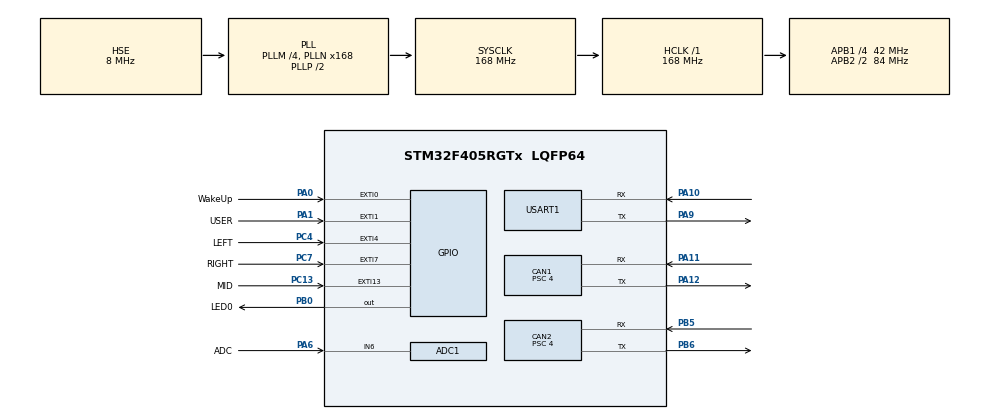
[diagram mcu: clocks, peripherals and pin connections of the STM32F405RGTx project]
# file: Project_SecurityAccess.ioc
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ADC1.Channel-0\#ChannelRegularConversion=ADC_CHANNEL_6
ADC1.NbrOfConversionFlag=1
ADC1.Rank-0\#ChannelRegularConversion=1
ADC1.Resolution=ADC_RESOLUTION_8B
ADC1.SamplingTime-0\#ChannelRegularConversion=ADC_SAMPLETIME_3CYCLES
ADC1.master=1
CAN1.ABOM=ENABLE
CAN1.AWUM=ENABLE
CAN1.BS1=CAN_BS1_16TQ
CAN1.BS2=CAN_BS2_4TQ
CAN1.CalculateBaudRate=500000
CAN1.CalculateTimeBit=2000
CAN1.CalculateTimeQuantum=95.23809523809524
CAN1.Prescaler=4
CAN2.ABOM=ENABLE
CAN2.AWUM=ENABLE
CAN2.BS1=CAN_BS1_16TQ
CAN2.BS2=CAN_BS2_4TQ
CAN2.CalculateBaudRate=500000
CAN2.CalculateTimeBit=2000
CAN2.CalculateTimeQuantum=95.23809523809524
CAN2.Prescaler=4
Mcu.Family=STM32F4
Mcu.Name=STM32F405RGTx
Mcu.Package=LQFP64
NVIC.CAN1_RX0_IRQn=true\:0\:0\:false\:false\:true\:true\:true\:true
NVIC.CAN2_RX1_IRQn=true\:0\:0\:false\:false\:true\:true\:true\:true
NVIC.EXTI0_IRQn=true\:0\:0\:false\:false\:true\:true\:true\:true
NVIC.EXTI15_10_IRQn=true\:0\:0\:false\:false\:true\:true\:true\:true
NVIC.EXTI1_IRQn=true\:0\:0\:false\:false\:true\:true\:true\:true
NVIC.EXTI4_IRQn=true\:0\:0\:false\:false\:true\:true\:true\:true
NVIC.EXTI9_5_IRQn=true\:0\:0\:false\:false\:true\:true\:true\:true
NVIC.PriorityGroup=NVIC_PRIORITYGROUP_4
NVIC.TIM3_IRQn=true\:0\:0\:false\:false\:true\:true\:true\:true
PA0-WKUP.GPIO_Label=WakeUp
PA0-WKUP.GPIO_PuPd=GPIO_PULLUP
PA0-WKUP.Signal=GPXTI0
PA1.GPIO_Label=USER
PA1.GPIO_PuPd=GPIO_PULLUP
PA1.Signal=GPXTI1
PA10.Mode=Asynchronous
PA10.Signal=USART1_RX
PA11.Mode=CAN_Activate
PA11.Signal=CAN1_RX
PA12.Mode=CAN_Activate
PA12.Signal=CAN1_TX
PA6.GPIO_Label=ADC
PA6.Signal=ADCx_IN6
PA9.Mode=Asynchronous
PA9.Signal=USART1_TX
PB0.GPIO_Label=LED0
PB0.Signal=GPIO_Output
PB5.Mode=CAN_Activate
PB5.Signal=CAN2_RX
PB6.Mode=CAN_Activate
PB6.Signal=CAN2_TX
PC13-ANTI_TAMP.GPIO_Label=MID
PC13-ANTI_TAMP.GPIO_PuPd=GPIO_PULLUP
PC13-ANTI_TAMP.Signal=GPXTI13
PC4.GPIO_Label=LEFT
PC4.GPIO_PuPd=GPIO_PULLUP
PC4.Signal=GPXTI4
PC7.GPIO_Label=RIGHT
PC7.GPIO_PuPd=GPIO_PULLUP
PC7.Signal=GPXTI7
PH0-OSC_IN.Mode=HSE-External-Oscillator
PH0-OSC_IN.Signal=RCC_OSC_IN
PH1-OSC_OUT.Mode=HSE-External-Oscillator
PH1-OSC_OUT.Signal=RCC_OSC_OUT
ProjectManager.HeapSize=0x200
ProjectManager.StackSize=0x400
ProjectManager.TargetToolchain=STM32CubeIDE
RCC.48MHZClocksFreq_Value=84000000
RCC.AHBFreq_Value=168000000
RCC.APB1CLKDivider=RCC_HCLK_DIV4
RCC.APB1Freq_Value=42000000
RCC.APB1TimFreq_Value=84000000
RCC.APB2CLKDivider=RCC_HCLK_DIV2
RCC.APB2Freq_Value=84000000
RCC.APB2TimFreq_Value=168000000
RCC.CortexFreq_Value=168000000
RCC.HCLKFreq_Value=168000000
RCC.HSE_VALUE=8000000
RCC.HSI_VALUE=16000000
RCC.LSE_VALUE=32768
RCC.PLLM=4
RCC.PLLN=168
RCC.PLLSourceVirtual=RCC_PLLSOURCE_HSE
RCC.SYSCLKFreq_VALUE=168000000
RCC.SYSCLKSource=RCC_SYSCLKSOURCE_PLLCLK
RCC.VCOOutputFreq_Value=336000000
SH.ADCx_IN6.0=ADC1_IN6,IN6
TIM3.Period=839
TIM3.Prescaler=99
USART1.VirtualMode=VM_ASYNC
VP_TIM3_VS_ClockSourceINT.Mode=Internal
board=custom

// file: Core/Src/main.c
/* USER CODE BEGIN Header */
/**
  ******************************************************************************
  * @file           : main.c
  * @brief          : Main program body
  ******************************************************************************
  * @attention
  *
  * Copyright (c) 2022 STMicroelectronics.
  * All rights reserved.
  *
  * This software is licensed under terms that can be found in the LICENSE file
  * in the root directory of this software component.
  * If no LICENSE file comes with this software, it is provided AS-IS.
  *
  ******************************************************************************
  */
/* USER CODE END Header */
#include "main.h"

/* USER CODE BEGIN Includes */
#include <stdio.h>

/* USER CODE END Includes */

/* USER CODE BEGIN PD */
#define data_length 8
#define tester_ID 	0x712
#define ECU_ID 		0x7A2
#define true 		1
#define false 		0
#define zero		0
#define over_time 	10000
#define LEFT 0xAA
#define MID 0x00
#define RIGHT 0xFF

/* USER CODE END PD */

/* USER CODE BEGIN PM */
#ifdef __GNUC__
 /* With GCC/RAISONANCE, small printf (option LD Linker->Libraries->Small printf
 set to 'Yes') calls __io_putchar() */
 #define PUTCHAR_PROTOTYPE int __io_putchar(int ch)
#else
 #define PUTCHAR_PROTOTYPE int fputc(int ch, FILE *f)
#endif /* __GNUC__ */

/* USER CODE END PM */

ADC_HandleTypeDef hadc1;

CAN_HandleTypeDef hcan1;
CAN_HandleTypeDef hcan2;

TIM_HandleTypeDef htim3;

UART_HandleTypeDef huart1;

/* USER CODE BEGIN PV */
CAN_TxHeaderTypeDef tester_TxHeader;
CAN_RxHeaderTypeDef tester_RxHeader;
uint8_t tester_TxData[data_length];
uint8_t tester_RxData[data_length];
uint32_t tester_TxMailbox;
CAN_TxHeaderTypeDef ECU_TxHeader;
CAN_RxHeaderTypeDef ECU_RxHeader;
uint8_t ECU_TxData[data_length];
uint8_t ECU_RxData[data_length];
uint32_t ECU_TxMailbox;

uint8_t ECU_store_seed[data_length];	// ECU control
uint8_t joystick;						// ECU control
uint16_t count = zero;					// ECU control
uint8_t is_ECU_unlock = false;			// ECU control
uint8_t is_run_timer = false;			// ECU control
uint8_t is_get_fifo1 = false;			// ECU control
uint8_t is_over_time = false;			// ECU control

uint8_t is_get_fifo0 = false;			// tester control
uint8_t flag_wake_up_key = false;		// tester control
uint8_t flag_user_key = false;			// tester control
uint8_t flag_left_key = false;			// tester control
uint8_t flag_right_key = false;			// tester control
uint8_t flag_mid_key = false;			// tester control

/* USER CODE END PV */

void SystemClock_Config(void);
static void MX_GPIO_Init(void);
static void MX_ADC1_Init(void);
static void MX_CAN1_Init(void);
static void MX_CAN2_Init(void);
static void MX_USART1_UART_Init(void);
static void MX_TIM3_Init(void);
/* USER CODE BEGIN PFP */
void HAL_GPIO_EXTI_Callback(uint16_t);
void HAL_CAN_RxFifo0MsgPendingCallback(CAN_HandleTypeDef *hcan);
void HAL_CAN_RxFifo1MsgPendingCallback(CAN_HandleTypeDef *hcan);	// ECU control
void HAL_TIM_PeriodElapsedCallback(TIM_HandleTypeDef *htim);		// ECU control
void securityAccessServiceSeedRequestFrame();						// tester control
void securityAccessServiceSeedResponseFrame();						// ECU control
void securityAccessSendKeyRequestFrame(uint8_t Tx_Data[], uint8_t Data[]);	// tester control
void securityAccessSendKeyResponseFrame();							// ECU control
void SecurityAccessNegativeResponseMessage(uint8_t Data[], uint8_t flag_NRC);
void ReadDataByIdentifierRequestFrame(uint8_t Data[]);						// tester control
void ReadDataByIdentifierResponseFrame(uint8_t Data[], uint8_t adc_value);	// ECU control
void WriteDataByIdentifierRequestFrame(uint8_t Data[], uint8_t joystick_position);
void WriteDataByIdentifierResponseFrame(uint8_t Data[]);			// ECU control
void Service22();								// tester control
void Service27();								// tester control
void Service2E(uint8_t joystick_position);		// tester control
void CheckAndHandleService22();					// tester control
void CheckAndHandleService27(); 				// tester control
void CheckAndHandleService2E();					// tester control
void CheckAndHandleTesterCANFIFO0();			// tester control
void CheckAndHandleECUCANFIFO1();				// ECU control
void CheckOverTime();							// ECU control
void HandleSID22();								// ECU control
void HandleSID27();								// ECU control
void HandleSID2E();								// ECU control
void HandleSID62();								// tester control
void HandleSID67();								// tester control
void HandleSID6E();								// tester control
void HandleSID7F();								// tester control
void store_joystick_value(uint8_t Data);		// ECU control
uint8_t is_accept_key(uint8_t Data[],uint8_t  store_seed[]);	// ECU control
uint8_t get_PCI(uint8_t);
uint8_t get_size(uint8_t);
uint8_t get_SID(uint8_t Data[]);
uint16_t get_DID(uint8_t Data[]);
uint8_t get_sub_function(uint8_t Data[]);
uint8_t get_NRC(uint8_t Data[]);
uint8_t generate_seed();
uint8_t cal_key(uint8_t);

/* USER CODE END PFP */

int main(void)
{

  /* MCU Configuration--------------------------------------------------------*/

  /* Reset of all peripherals, Initializes the Flash interface and the Systick. */
  HAL_Init();

  /* Configure the system clock */
  SystemClock_Config();

  /* Initialize all configured peripherals */
  MX_GPIO_Init();
  MX_ADC1_Init();
  MX_CAN1_Init();
  MX_CAN2_Init();
  MX_USART1_UART_Init();
  MX_TIM3_Init();
  /* USER CODE BEGIN 2 */
  HAL_ADC_Start(&hadc1);			// khoi dong module ADC
  HAL_TIM_Base_Start_IT(&htim3);	// khoi dong module timer
  HAL_CAN_Start(&hcan1);			// khởi động module can1
  HAL_CAN_Start(&hcan2);			// khởi động module can2
  HAL_CAN_ActivateNotification(&hcan1, CAN_IT_RX_FIFO0_MSG_PENDING);  // Activate the notification
  HAL_CAN_ActivateNotification(&hcan2, CAN_IT_RX_FIFO1_MSG_PENDING);  // Activate the notification
  /* USER CODE END 2 */

  /* Infinite loop */
  /* USER CODE BEGIN WHILE */
  while (1)
  {
	  CheckAndHandleService27();
	  CheckAndHandleService22();
	  CheckAndHandleService2E();
	  CheckAndHandleTesterCANFIFO0();
	  CheckAndHandleECUCANFIFO1();
	  CheckOverTime();
    /* USER CODE END WHILE */

  }
}

void SystemClock_Config(void)
{
  RCC_OscInitTypeDef RCC_OscInitStruct = {0};
  RCC_ClkInitTypeDef RCC_ClkInitStruct = {0};

  /** Configure the main internal regulator output voltage
  */
  __HAL_RCC_PWR_CLK_ENABLE();
  __HAL_PWR_VOLTAGESCALING_CONFIG(PWR_REGULATOR_VOLTAGE_SCALE1);

  /** Initializes the RCC Oscillators according to the specified parameters
  * in the RCC_OscInitTypeDef structure.
  */
  RCC_OscInitStruct.OscillatorType = RCC_OSCILLATORTYPE_HSE;
  RCC_OscInitStruct.HSEState = RCC_HSE_ON;
  RCC_OscInitStruct.PLL.PLLState = RCC_PLL_ON;
  RCC_OscInitStruct.PLL.PLLSource = RCC_PLLSOURCE_HSE;
  RCC_OscInitStruct.PLL.PLLM = 4;
  RCC_OscInitStruct.PLL.PLLN = 168;
  RCC_OscInitStruct.PLL.PLLP = RCC_PLLP_DIV2;
  RCC_OscInitStruct.PLL.PLLQ = 4;
  if (HAL_RCC_OscConfig(&RCC_OscInitStruct) != HAL_OK)
  {
    Error_Handler();
  }

  /** Initializes the CPU, AHB and APB buses clocks
  */
  RCC_ClkInitStruct.ClockType = RCC_CLOCKTYPE_HCLK|RCC_CLOCKTYPE_SYSCLK
                              |RCC_CLOCKTYPE_PCLK1|RCC_CLOCKTYPE_PCLK2;
  RCC_ClkInitStruct.SYSCLKSource = RCC_SYSCLKSOURCE_PLLCLK;
  RCC_ClkInitStruct.AHBCLKDivider = RCC_SYSCLK_DIV1;
  RCC_ClkInitStruct.APB1CLKDivider = RCC_HCLK_DIV4;
  RCC_ClkInitStruct.APB2CLKDivider = RCC_HCLK_DIV2;

  if (HAL_RCC_ClockConfig(&RCC_ClkInitStruct, FLASH_LATENCY_5) != HAL_OK)
  {
    Error_Handler();
  }
}

static void MX_ADC1_Init(void)
{

  ADC_ChannelConfTypeDef sConfig = {0};

  /** Configure the global features of the ADC (Clock, Resolution, Data Alignment and number of conversion)
  */
  hadc1.Instance = ADC1;
  hadc1.Init.ClockPrescaler = ADC_CLOCK_SYNC_PCLK_DIV4;
  hadc1.Init.Resolution = ADC_RESOLUTION_8B;
  hadc1.Init.ScanConvMode = DISABLE;
  hadc1.Init.ContinuousConvMode = DISABLE;
  hadc1.Init.DiscontinuousConvMode = DISABLE;
  hadc1.Init.ExternalTrigConvEdge = ADC_EXTERNALTRIGCONVEDGE_NONE;
  hadc1.Init.ExternalTrigConv = ADC_SOFTWARE_START;
  hadc1.Init.DataAlign = ADC_DATAALIGN_RIGHT;
  hadc1.Init.NbrOfConversion = 1;
  hadc1.Init.DMAContinuousRequests = DISABLE;
  hadc1.Init.EOCSelection = ADC_EOC_SINGLE_CONV;
  if (HAL_ADC_Init(&hadc1) != HAL_OK)
  {
    Error_Handler();
  }

  /** Configure for the selected ADC regular channel its corresponding rank in the sequencer and its sample time.
  */
  sConfig.Channel = ADC_CHANNEL_6;
  sConfig.Rank = 1;
  sConfig.SamplingTime = ADC_SAMPLETIME_3CYCLES;
  if (HAL_ADC_ConfigChannel(&hadc1, &sConfig) != HAL_OK)
  {
    Error_Handler();
  }

}

static void MX_CAN1_Init(void)
{

  /* USER CODE BEGIN CAN1_Init 0 */
	tester_TxHeader.DLC = data_length;  // data length
	tester_TxHeader.IDE = CAN_ID_STD;
	tester_TxHeader.RTR = CAN_RTR_DATA;
	tester_TxHeader.StdId = tester_ID;  // ID
  /* USER CODE END CAN1_Init 0 */

  /* USER CODE BEGIN CAN1_Init 1 */
	for (int i = 0; i < 8; i++){
		tester_TxData[i] = 0x55;
	}
  /* USER CODE END CAN1_Init 1 */
  hcan1.Instance = CAN1;
  hcan1.Init.Prescaler = 4;
  hcan1.Init.Mode = CAN_MODE_NORMAL;
  hcan1.Init.SyncJumpWidth = CAN_SJW_1TQ;
  hcan1.Init.TimeSeg1 = CAN_BS1_16TQ;
  hcan1.Init.TimeSeg2 = CAN_BS2_4TQ;
  hcan1.Init.TimeTriggeredMode = DISABLE;
  hcan1.Init.AutoBusOff = ENABLE;
  hcan1.Init.AutoWakeUp = ENABLE;
  hcan1.Init.AutoRetransmission = DISABLE;
  hcan1.Init.ReceiveFifoLocked = DISABLE;
  hcan1.Init.TransmitFifoPriority = DISABLE;
  if (HAL_CAN_Init(&hcan1) != HAL_OK)
  {
    Error_Handler();
  }
  /* USER CODE BEGIN CAN1_Init 2 */
  CAN_FilterTypeDef canfilterconfig;
  canfilterconfig.FilterActivation = CAN_FILTER_ENABLE;
  canfilterconfig.FilterBank = 18;  // which filter bank to use from the assigned ones
  canfilterconfig.FilterFIFOAssignment = CAN_FILTER_FIFO0;
  canfilterconfig.FilterIdHigh = ECU_ID<<5;
  canfilterconfig.FilterIdLow = 0;
  canfilterconfig.FilterMaskIdHigh = ECU_ID<<5;
  canfilterconfig.FilterMaskIdLow = 0x0000;
  canfilterconfig.FilterMode = CAN_FILTERMODE_IDMASK;
  canfilterconfig.FilterScale = CAN_FILTERSCALE_32BIT;
  canfilterconfig.SlaveStartFilterBank = 20;  // how many filters to assign to the CAN1 (master can)
  HAL_CAN_ConfigFilter(&hcan1, &canfilterconfig);

  /* USER CODE END CAN1_Init 2 */

}

static void MX_CAN2_Init(void)
{

  /* USER CODE BEGIN CAN2_Init 0 */
	ECU_TxHeader.DLC = data_length;  // data length
	ECU_TxHeader.IDE = CAN_ID_STD;
	ECU_TxHeader.RTR = CAN_RTR_DATA;
	ECU_TxHeader.StdId = ECU_ID;  // ID
  /* USER CODE END CAN2_Init 0 */

  /* USER CODE BEGIN CAN2_Init 1 */
	for (int i = 0; i < 8; i++){
		ECU_TxData[i] = 0x55;
	}
  /* USER CODE END CAN2_Init 1 */
  hcan2.Instance = CAN2;
  hcan2.Init.Prescaler = 4;
  hcan2.Init.Mode = CAN_MODE_NORMAL;
  hcan2.Init.SyncJumpWidth = CAN_SJW_1TQ;
  hcan2.Init.TimeSeg1 = CAN_BS1_16TQ;
  hcan2.Init.TimeSeg2 = CAN_BS2_4TQ;
  hcan2.Init.TimeTriggeredMode = DISABLE;
  hcan2.Init.AutoBusOff = ENABLE;
  hcan2.Init.AutoWakeUp = ENABLE;
  hcan2.Init.AutoRetransmission = DISABLE;
  hcan2.Init.ReceiveFifoLocked = DISABLE;
  hcan2.Init.TransmitFifoPriority = DISABLE;
  if (HAL_CAN_Init(&hcan2) != HAL_OK)
  {
    Error_Handler();
  }
  /* USER CODE BEGIN CAN2_Init 2 */
  CAN_FilterTypeDef canfilterconfig;
  canfilterconfig.FilterActivation = CAN_FILTER_ENABLE;
  canfilterconfig.FilterBank = 10;  // which filter bank to use from the assigned ones
  canfilterconfig.FilterFIFOAssignment = CAN_FILTER_FIFO1;
  canfilterconfig.FilterIdHigh = tester_ID<<5;
  canfilterconfig.FilterIdLow = 0;
  canfilterconfig.FilterMaskIdHigh = tester_ID<<5;
  canfilterconfig.FilterMaskIdLow = 0x0000;
  canfilterconfig.FilterMode = CAN_FILTERMODE_IDMASK;
  canfilterconfig.FilterScale = CAN_FILTERSCALE_32BIT;
  canfilterconfig.SlaveStartFilterBank = 0;  // doesn't matter in single can controllers
  HAL_CAN_ConfigFilter(&hcan2, &canfilterconfig);

  /* USER CODE END CAN2_Init 2 */

}

static void MX_TIM3_Init(void)
{

  TIM_ClockConfigTypeDef sClockSourceConfig = {0};
  TIM_MasterConfigTypeDef sMasterConfig = {0};

  htim3.Instance = TIM3;
  htim3.Init.Prescaler = 99;
  htim3.Init.CounterMode = TIM_COUNTERMODE_UP;
  htim3.Init.Period = 839;
  htim3.Init.ClockDivision = TIM_CLOCKDIVISION_DIV1;
  htim3.Init.AutoReloadPreload = TIM_AUTORELOAD_PRELOAD_DISABLE;
  if (HAL_TIM_Base_Init(&htim3) != HAL_OK)
  {
    Error_Handler();
  }
  sClockSourceConfig.ClockSource = TIM_CLOCKSOURCE_INTERNAL;
  if (HAL_TIM_ConfigClockSource(&htim3, &sClockSourceConfig) != HAL_OK)
  {
    Error_Handler();
  }
  sMasterConfig.MasterOutputTrigger = TIM_TRGO_RESET;
  sMasterConfig.MasterSlaveMode = TIM_MASTERSLAVEMODE_DISABLE;
  if (HAL_TIMEx_MasterConfigSynchronization(&htim3, &sMasterConfig) != HAL_OK)
  {
    Error_Handler();
  }

}

static void MX_USART1_UART_Init(void)
{

  huart1.Instance = USART1;
  huart1.Init.BaudRate = 115200;
  huart1.Init.WordLength = UART_WORDLENGTH_8B;
  huart1.Init.StopBits = UART_STOPBITS_1;
  huart1.Init.Parity = UART_PARITY_NONE;
  huart1.Init.Mode = UART_MODE_TX_RX;
  huart1.Init.HwFlowCtl = UART_HWCONTROL_NONE;
  huart1.Init.OverSampling = UART_OVERSAMPLING_16;
  if (HAL_UART_Init(&huart1) != HAL_OK)
  {
    Error_Handler();
  }

}

static void MX_GPIO_Init(void)
{
  GPIO_InitTypeDef GPIO_InitStruct = {0};

  /* GPIO Ports Clock Enable */
  __HAL_RCC_GPIOC_CLK_ENABLE();
  __HAL_RCC_GPIOH_CLK_ENABLE();
  __HAL_RCC_GPIOA_CLK_ENABLE();
  __HAL_RCC_GPIOB_CLK_ENABLE();

  /*Configure GPIO pin Output Level */
  HAL_GPIO_WritePin(LED0_GPIO_Port, LED0_Pin, GPIO_PIN_RESET);

  /*Configure GPIO pins : MID_Pin LEFT_Pin RIGHT_Pin */
  GPIO_InitStruct.Pin = MID_Pin|LEFT_Pin|RIGHT_Pin;
  GPIO_InitStruct.Mode = GPIO_MODE_IT_RISING;
  GPIO_InitStruct.Pull = GPIO_PULLUP;
  HAL_GPIO_Init(GPIOC, &GPIO_InitStruct);

  /*Configure GPIO pins : WakeUp_Pin USER_Pin */
  GPIO_InitStruct.Pin = WakeUp_Pin|USER_Pin;
  GPIO_InitStruct.Mode = GPIO_MODE_IT_RISING;
  GPIO_InitStruct.Pull = GPIO_PULLUP;
  HAL_GPIO_Init(GPIOA, &GPIO_InitStruct);

  /*Configure GPIO pin : LED0_Pin */
  GPIO_InitStruct.Pin = LED0_Pin;
  GPIO_InitStruct.Mode = GPIO_MODE_OUTPUT_PP;
  GPIO_InitStruct.Pull = GPIO_NOPULL;
  GPIO_InitStruct.Speed = GPIO_SPEED_FREQ_LOW;
  HAL_GPIO_Init(LED0_GPIO_Port, &GPIO_InitStruct);

  /* EXTI interrupt init*/
  HAL_NVIC_SetPriority(EXTI0_IRQn, 0, 0);
  HAL_NVIC_EnableIRQ(EXTI0_IRQn);

  HAL_NVIC_SetPriority(EXTI1_IRQn, 0, 0);
  HAL_NVIC_EnableIRQ(EXTI1_IRQn);

  HAL_NVIC_SetPriority(EXTI4_IRQn, 0, 0);
  HAL_NVIC_EnableIRQ(EXTI4_IRQn);

  HAL_NVIC_SetPriority(EXTI9_5_IRQn, 0, 0);
  HAL_NVIC_EnableIRQ(EXTI9_5_IRQn);

  HAL_NVIC_SetPriority(EXTI15_10_IRQn, 0, 0);
  HAL_NVIC_EnableIRQ(EXTI15_10_IRQn);

}

/* USER CODE BEGIN 4 */

void store_joystick_value(uint8_t Data){
	joystick = Data;
}
uint8_t get_PCI(uint8_t Data){
	return Data >> 4;
}
uint8_t get_size(uint8_t Data){
	return Data & 0x0F;
}
uint8_t get_SID(uint8_t Data[]){
	return Data[1];
}
uint16_t get_DID(uint8_t Data[]){
	uint16_t temp = Data[2];
	temp <<= 8;
	temp += Data[3];
	return temp;
}
uint8_t get_sub_function(uint8_t Data[]){
	return Data[2];
}
uint8_t generate_seed(){
	return (uint8_t)(HAL_GetTick());
}
uint8_t cal_key(uint8_t Data){
	return Data + 1;
}
uint8_t is_accept_key(uint8_t Data[],uint8_t  store_seed[]){
	for (int i = 3; i < 8; i++){
		if (Data[i] != cal_key(store_seed[i])) return false;
	}
	return true;
}
uint8_t get_NRC(uint8_t Data[]){
	return Data[2];
}
void ReadDataByIdentifierRequestFrame(uint8_t Data[]){
	Data[0] = 0x03;	// PCi, size
	Data[1] = 0x22;	// SID
	Data[2] = 0xF0;	// DID
	Data[3] = 0x02;	// DID
}
void ReadDataByIdentifierResponseFrame(uint8_t Data[], uint8_t adc_value){
	Data[0] = 0x04;	// PCI
	Data[1] = 0x62;	// PSID
	Data[2] = 0xF0;	// DID
	Data[3] = 0x02; // DID
	Data[4] = adc_value;	// data
}
void WriteDataByIdentifierRequestFrame(uint8_t Data[], uint8_t joystick_position){
	Data[0] = 0x04;	// PCi, size
	Data[1] = 0x2E;	// SID
	Data[2] = 0xF1;	// DID
	Data[3] = 0x12;	// DID
	Data[4] = joystick_position;	// data
}
void WriteDataByIdentifierResponseFrame(uint8_t Data[]){
	Data[0] = 0x03;	// PCi, size
	Data[1] = 0x6E;	// PSID
	Data[2] = 0xF1;	// DID
	Data[3] = 0x12;	// DID
}
void securityAccessServiceSeedRequestFrame(uint8_t Data[]){
	Data[0] = 0x02;	// PCI la 0, size la 2
	Data[1] = 0x27;	// service 27
	Data[2] = 0x01;	// request seed
}
void securityAccessServiceSeedResponseFrame(uint8_t Data[]){
	Data[0] = 0x07;	// PCI la 0, size la 4
	Data[1] = 0x67;	// response $27 nen la $67
	Data[2] = 0x01;	// request seed
	Data[3] = generate_seed();	// Security Seed
	ECU_store_seed[3] = Data[3];
	Data[4] = generate_seed();	// Security Seed
	ECU_store_seed[4] = Data[4];
	Data[5] = generate_seed();	// Security Seed
	ECU_store_seed[5] = Data[5];
	Data[6] = generate_seed();	// Security Seed
	ECU_store_seed[6] = Data[6];
	Data[7] = generate_seed();	// Security Seed
	ECU_store_seed[7] = Data[7];
}
void securityAccessSendKeyRequestFrame(uint8_t Tx_Data[], uint8_t Data[]){
	Tx_Data[0] = 0x07;				// PCI la 0, size la 4
	Tx_Data[1] = 0x27;				// response $27 nen la $67
	Tx_Data[2] = 0x02;				// response seed = request seed + 1
	Tx_Data[3] = cal_key(Data[3]);	// Security key
	Tx_Data[4] = cal_key(Data[4]);	// Security key
	Tx_Data[5] = cal_key(Data[5]);	// Security key
	Tx_Data[6] = cal_key(Data[6]);	// Security key
	Tx_Data[7] = cal_key(Data[7]);	// Security key
}
void securityAccessSendKeyResponseFrame(uint8_t Data[]){
	Data[0] = 0x02;	// PCI la 0, size la 2
	Data[1] = 0x67;	// response $27 nen la $67
	Data[2] = 0x02;	// response seed = request seed + 1
	if (is_ECU_unlock == true) Data[3] = false;	// unlock or lock
	else Data[3] = true;
}
void SecurityAccessNegativeResponseMessage(uint8_t Data[], uint8_t flag_NRC){
	Data[0] = 0x03;	// PCI la 0, size la 3
	Data[1] = 0x7F;	// NRC code
	switch(flag_NRC) {
		case 0x12:
			Data[2] = 0x12;	// sub function not supported
			break;
		case 0x35:
			Data[2] = 0x35;	// invalid key
			break;
		case 0x13:
			Data[2] = 0x13;	// incorrect message length or invalid format
		default:
			Data[2] = 0x33;	//securityAccessDenied
	}
}
void HandleSID22(){
	uint16_t DID = get_DID(ECU_RxData);
	if (DID == 0xF002){
		is_run_timer = true;
		HAL_ADC_Start(&hadc1);
		HAL_Delay(10);
		uint8_t adc_value = HAL_ADC_GetValue(&hadc1);
		ReadDataByIdentifierResponseFrame(ECU_TxData, adc_value);
	}
	else{
		SecurityAccessNegativeResponseMessage(ECU_TxData, 0x12);
	}
	HAL_CAN_AddTxMessage(&hcan2, &ECU_TxHeader, ECU_TxData, &ECU_TxMailbox);
}
void HandleSID27(){
	uint8_t SBF = get_sub_function(ECU_RxData);
	if (SBF == 0x01){
		securityAccessServiceSeedResponseFrame(ECU_TxData);
	}
	else if (SBF == 0x02){
		if (is_accept_key(ECU_RxData, ECU_store_seed) == true){
			if (is_ECU_unlock == true){
				is_ECU_unlock = false;
				securityAccessSendKeyResponseFrame(ECU_TxData);
			}
			else{
				is_ECU_unlock = true;
				is_run_timer = true;
				securityAccessSendKeyResponseFrame(ECU_TxData);
			}
		}
		else {
			SecurityAccessNegativeResponseMessage(ECU_TxData, 0x35);// invalid key
		}
	}
	else SecurityAccessNegativeResponseMessage(ECU_TxData, 0x12);	// invalid sbf
	HAL_CAN_AddTxMessage(&hcan2, &ECU_TxHeader, ECU_TxData, &ECU_TxMailbox);
}
void HandleSID2E(){
	uint16_t DID = get_DID(ECU_RxData);
	if (DID == 0xF112){
		store_joystick_value(ECU_RxData[4]);
		WriteDataByIdentifierResponseFrame(ECU_TxData);
		is_run_timer = true;
	}
	else{
		SecurityAccessNegativeResponseMessage(ECU_TxData, 0x12);
	}
	HAL_CAN_AddTxMessage(&hcan2, &ECU_TxHeader, ECU_TxData, &ECU_TxMailbox);
}
void HandleSID67(){
	uint8_t SBF = get_sub_function(tester_RxData);
	if (SBF == 0x01){
		securityAccessSendKeyRequestFrame(tester_TxData, tester_RxData);
		HAL_CAN_AddTxMessage(&hcan1, &tester_TxHeader, tester_TxData, &tester_TxMailbox);
	}
	else if (SBF == 0x02){
		if (tester_RxData[3] == false){
			printf("Unlocked\n\r");
			HAL_GPIO_WritePin(LED0_GPIO_Port, LED0_Pin, GPIO_PIN_SET);
		}
		else{
			printf("Locked\n\r");
			HAL_GPIO_WritePin(LED0_GPIO_Port, LED0_Pin, GPIO_PIN_RESET);
		}
	}
}
void HandleSID62(){
	uint16_t DID = get_DID(tester_RxData);
	if (DID == 0xF002){
		uint8_t adc_value = tester_RxData[4];
		printf("ADC value: %x\n\r", adc_value);
	}
}
void HandleSID6E(){
	uint16_t DID = get_DID(tester_RxData);
	if (DID == 0xF112){
		printf("Written joystick position\n\r");
		printf("joystick position: %x\n\r", joystick);
	}
}
void HandleSID7F(){
	uint8_t NRC = get_NRC(tester_RxData);
	if (NRC == 0x12){
		printf("subFunctionNotSupported\n\r");
	}
	else if (NRC == 0x35){
		printf("invalidKey\n\r");
	}
	else if (NRC == 0x13){
		printf("incorrectMessageLengthOrInvalidFormat\n\r");
	}
	else if (NRC == 0x33){
		printf("securityAccessDenied\n\r");
	}
}
void Service22(){
	ReadDataByIdentifierRequestFrame(tester_TxData);
	HAL_CAN_AddTxMessage(&hcan1, &tester_TxHeader, tester_TxData, &tester_TxMailbox);
}
void Service27(){
	securityAccessServiceSeedRequestFrame(tester_TxData);
	HAL_CAN_AddTxMessage(&hcan1, &tester_TxHeader, tester_TxData, &tester_TxMailbox);
}
void Service2E(uint8_t joystick_position){
	WriteDataByIdentifierRequestFrame(tester_TxData, joystick_position);
	HAL_CAN_AddTxMessage(&hcan1, &tester_TxHeader, tester_TxData, &tester_TxMailbox);
}
void CheckAndHandleService22(){
	if (flag_user_key == true){
		flag_user_key = false;
		Service22();
	}
}
void CheckAndHandleService27(){
	if (flag_wake_up_key == true){
		flag_wake_up_key = false;
		Service27();
	}
}
void CheckAndHandleService2E(){
	if (flag_left_key == true){
		flag_left_key = false;
		Service2E(LEFT);
	}
	else if (flag_mid_key == true){
		flag_mid_key = false;
		Service2E(MID);
	}
	else if (flag_right_key == true){
		flag_right_key = false;
		Service2E(RIGHT);
	}
}
void CheckAndHandleTesterCANFIFO0(){
	if (is_get_fifo0 == true){
		is_get_fifo0 = false;
		uint8_t PCI = get_PCI(tester_RxData[0]);
		if (PCI == 0x00){
			uint8_t SID = get_SID(tester_RxData);
			if (SID == 0x62) HandleSID62();
			else if (SID == 0x67) HandleSID67();
			else if (SID == 0x6E) HandleSID6E();
			else if (SID == 0x7F) HandleSID7F();
		}
	}
}
void CheckAndHandleECUCANFIFO1(){
	if (is_get_fifo1 == true){
		is_get_fifo1 = false;
		uint8_t PCI = get_PCI(ECU_RxData[0]);
		uint8_t LEN = get_size(ECU_RxData[0]);
		if (PCI == 0x00){
			uint8_t SID = get_SID(ECU_RxData);
			if (is_ECU_unlock == true){
				if (SID == 0x22){
					if (LEN == 0x03) HandleSID22();
					else {
						SecurityAccessNegativeResponseMessage(ECU_TxData, 0x13);
						HAL_CAN_AddTxMessage(&hcan2, &ECU_TxHeader, ECU_TxData, &ECU_TxMailbox);
					}
				}
				else if (SID == 0x2E) {
					if (LEN == 0x04) HandleSID2E();
					else {
						SecurityAccessNegativeResponseMessage(ECU_TxData, 0x13);
						HAL_CAN_AddTxMessage(&hcan2, &ECU_TxHeader, ECU_TxData, &ECU_TxMailbox);
					}
				}
				else if (SID == 0x27){
					if (LEN == 0x07 || LEN == 0x02) HandleSID27();
				}
			}
			else if (is_ECU_unlock == false){
				if (SID == 0x27){
					if (LEN == 0x07 || LEN == 0x02) HandleSID27();
					else {
						SecurityAccessNegativeResponseMessage(ECU_TxData, 0x13);
						HAL_CAN_AddTxMessage(&hcan2, &ECU_TxHeader, ECU_TxData, &ECU_TxMailbox);
					}
				}
				else {
					SecurityAccessNegativeResponseMessage(ECU_TxData, 0x33);
					HAL_CAN_AddTxMessage(&hcan2, &ECU_TxHeader, ECU_TxData, &ECU_TxMailbox);
				}
			}
		}
	}
}
void CheckOverTime(){
	if (is_over_time == true){
		is_over_time = false;
		is_run_timer = false;
		count = 0;
		is_ECU_unlock = false;
		HAL_GPIO_WritePin(LED0_GPIO_Port, LED0_Pin, GPIO_PIN_RESET);
		printf("System's locked\n\r");
	}
}
void HAL_GPIO_EXTI_Callback(uint16_t GPIO_Pin)
{
  /* Prevent unused argument(s) compilation warning */
	UNUSED(GPIO_Pin);
	if(GPIO_Pin == WakeUp_Pin){
		printf("Wake up\n\r");
		flag_wake_up_key = true;
		while(HAL_GPIO_ReadPin(WakeUp_GPIO_Port, WakeUp_Pin) == GPIO_PIN_RESET);
	}
	else if (GPIO_Pin == USER_Pin){
		printf("User\n\r");
		flag_user_key = true;
		while(HAL_GPIO_ReadPin(USER_GPIO_Port, USER_Pin) == GPIO_PIN_RESET);
	}
	else if (GPIO_Pin == LEFT_Pin){
		printf("Left\n\r");
		flag_left_key = true;
		while(HAL_GPIO_ReadPin(LEFT_GPIO_Port, LEFT_Pin) == GPIO_PIN_RESET);
	}
	else if (GPIO_Pin == RIGHT_Pin){
		printf("Right\n\r");
		flag_right_key = true;
		while(HAL_GPIO_ReadPin(RIGHT_GPIO_Port, RIGHT_Pin) == GPIO_PIN_RESET);
	}
	else if (GPIO_Pin == MID_Pin){
		printf("Mid\n\r");
		flag_mid_key = true;
		while(HAL_GPIO_ReadPin(MID_GPIO_Port, MID_Pin) == GPIO_PIN_RESET);
	}
  /* NOTE: This function Should not be modified, when the callback is needed,
           the HAL_GPIO_EXTI_Callback could be implemented in the user file
   */
}
void HAL_CAN_RxFifo0MsgPendingCallback(CAN_HandleTypeDef *hcan){
	HAL_CAN_GetRxMessage(hcan, CAN_RX_FIFO0, &tester_RxHeader, tester_RxData);
	if (tester_RxHeader.DLC == data_length){
		is_get_fifo0 = true;
	}
}
void HAL_CAN_RxFifo1MsgPendingCallback(CAN_HandleTypeDef *hcan){
	HAL_CAN_GetRxMessage(hcan, CAN_RX_FIFO1, &ECU_RxHeader, ECU_RxData);
	if (ECU_RxHeader.DLC == data_length){
		is_get_fifo1 = true;
		is_run_timer = false;
		count = 0;
	}
}
void HAL_TIM_PeriodElapsedCallback(TIM_HandleTypeDef *htim){
	if (htim->Instance == TIM3){
		if (is_run_timer == true){
			count++;
			if (count % 1000 == 0) printf("%d\n\r", count);
			if (count == over_time) {
				is_over_time = true;
				count %= over_time;
			}
		}
		else count = zero;
	}
}
PUTCHAR_PROTOTYPE
{
  /* Place your implementation of fputc here */
  /* e.g. write a character to the USART */
  HAL_UART_Transmit(&huart1, (uint8_t *)&ch, 1, 100);
  return ch;
}
/* USER CODE END 4 */

void Error_Handler(void)
{
  __disable_irq();
  while (1)
  {
  }
}
